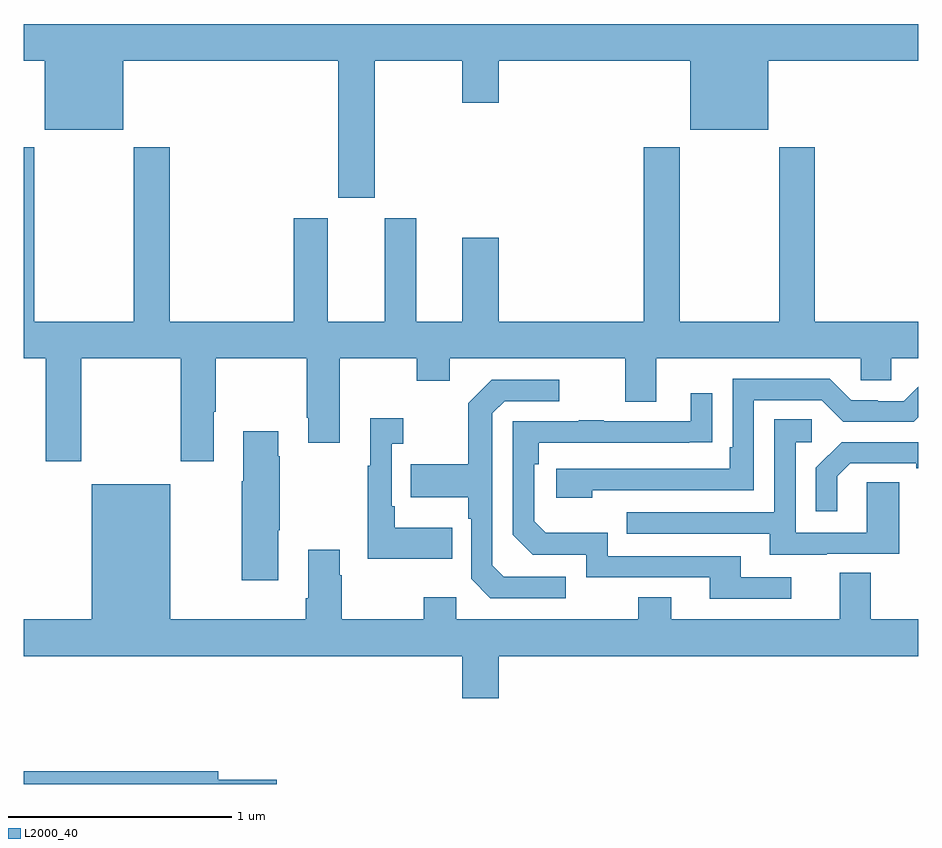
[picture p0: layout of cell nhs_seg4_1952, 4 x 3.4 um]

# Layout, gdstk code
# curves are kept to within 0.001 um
import gdstk
lib = gdstk.Library(unit=1e-6, precision=1e-09)
def P(c, l, *ps):  # polygons
    for p in ps: c.add(gdstk.Polygon(p, *l))
L2000_40 = (2000, 40)

nhs_seg4_1952 = lib.new_cell('nhs_seg4_1952')
P(nhs_seg4_1952, L2000_40, [(212.569,814.136),(212.96,814.136),(212.96,813.948),(213.124,813.948),(213.124,814.136),(213.98,814.136),(213.98,813.827),(214.33,813.827),(214.33,814.136),(215,814.136),(215,814.3),(211,814.3),(211,814.136),(211.094,814.136),(211.094,813.827),(211.444,813.827),(211.444,814.136),(212.405,814.136),(212.405,813.522),(212.569,813.522)],
  [(211.257,812.804),(211.702,812.804),(211.702,812.343),(211.849,812.343),(211.849,812.566),(211.857,812.566),(211.857,812.804),(212.266,812.804),(212.266,812.539),(212.273,812.539),(212.273,812.427),(212.413,812.427),(212.413,812.804),(212.758,812.804),(212.758,812.705),(212.905,812.705),(212.905,812.804),(213.689,812.804),(213.689,812.61),(213.829,812.61),(213.829,812.804),(214.743,812.804),(214.743,812.706),(214.881,812.706),(214.881,812.804),(215,812.804),(215,812.968),(214.538,812.968),(214.538,813.748),(214.378,813.748),(214.378,812.968),(213.933,812.968),(213.933,813.748),(213.773,813.748),(213.773,812.968),(213.124,812.968),(213.124,813.343),(212.96,813.343),(212.96,812.968),(212.755,812.968),(212.755,813.43),(212.615,813.43),(212.615,812.968),(212.359,812.968),(212.359,813.43),(212.207,813.43),(212.207,812.968),(211.652,812.968),(211.652,813.748),(211.492,813.748),(211.492,812.968),(211.047,812.968),(211.047,813.748),(211,813.748),(211,812.804),(211.097,812.804),(211.097,812.343),(211.257,812.343)],
  [(213.542,812.214),(214.266,812.214),(214.266,812.616),(214.569,812.616),(214.665,812.52),(214.98,812.52),(215,812.54),(215,812.678),(214.935,812.613),(214.82,812.613),(214.82,812.616),(214.701,812.616),(214.605,812.712),(214.17,812.712),(214.17,812.407),(214.157,812.407),(214.157,812.31),(213.381,812.31),(213.381,812.18),(213.542,812.18)],
  [(213.424,811.827),(213.147,811.827),(213.096,811.878),(213.096,812.559),(213.15,812.613),(213.394,812.613),(213.394,812.709),(213.093,812.709),(212.988,812.603),(212.988,812.331),(212.731,812.331),(212.731,812.183),(212.988,812.183),(212.988,812.087),(213,812.087),(213,811.818),(213.087,811.731),(213.424,811.731)],
  [(214.432,811.824),(214.207,811.824),(214.207,811.92),(213.612,811.92),(213.612,812.023),(213.335,812.023),(213.282,812.076),(213.282,812.33),(213.302,812.33),(213.302,812.427),(214.079,812.428),(214.079,812.647),(213.983,812.647),(213.983,812.523),(213.593,812.523),(213.593,812.528),(213.481,812.528),(213.481,812.523),(213.186,812.523),(213.186,812.016),(213.276,811.926),(213.516,811.926),(213.516,811.824),(214.067,811.824),(214.067,811.728),(214.432,811.728)],
  [(212.915,812.047),(212.659,812.047),(212.659,812.143),(212.646,812.143),(212.646,812.423),(212.698,812.423),(212.698,812.536),(212.549,812.536),(212.549,812.323),(212.538,812.323),(212.538,811.907),(212.915,811.907)],
  [(214.591,811.929),(214.915,811.929),(214.915,812.249),(214.77,812.249),(214.77,812.025),(214.452,812.025),(214.452,812.43),(214.525,812.43),(214.525,812.531),(214.356,812.531),(214.356,812.115),(213.697,812.115),(213.697,812.019),(214.337,812.019),(214.337,811.925),(214.591,811.925)],
  [(212.137,812.035),(212.145,812.035),(212.145,812.366),(212.137,812.366),(212.137,812.479),(211.982,812.479),(211.982,812.255),(211.975,812.255),(211.975,811.812),(212.137,811.812)],
  [(214.639,812.277),(214.696,812.334),(214.991,812.334),(214.991,812.312),(215,812.312),(215,812.43),(214.658,812.43),(214.542,812.314),(214.542,812.121),(214.639,812.121)],
  [(213.124,811.472),(215,811.472),(215,811.636),(214.789,811.636),(214.789,811.844),(214.649,811.844),(214.649,811.636),(213.895,811.636),(213.895,811.735),(213.748,811.735),(213.748,811.636),(212.934,811.636),(212.934,811.735),(212.788,811.735),(212.788,811.636),(212.421,811.636),(212.421,811.835),(212.413,811.835),(212.413,811.948),(212.273,811.948),(212.273,811.732),(212.261,811.732),(212.261,811.636),(211.654,811.636),(211.654,812.242),(211.304,812.242),(211.304,811.636),(211,811.636),(211,811.472),(212.96,811.472),(212.96,811.284),(213.124,811.284)],
  [(212.131,810.92),(211.87,810.92),(211.87,810.956),(211,810.956),(211,810.9),(212.131,810.9)])

lib.write_gds('nhs_seg4_1952.gds')
